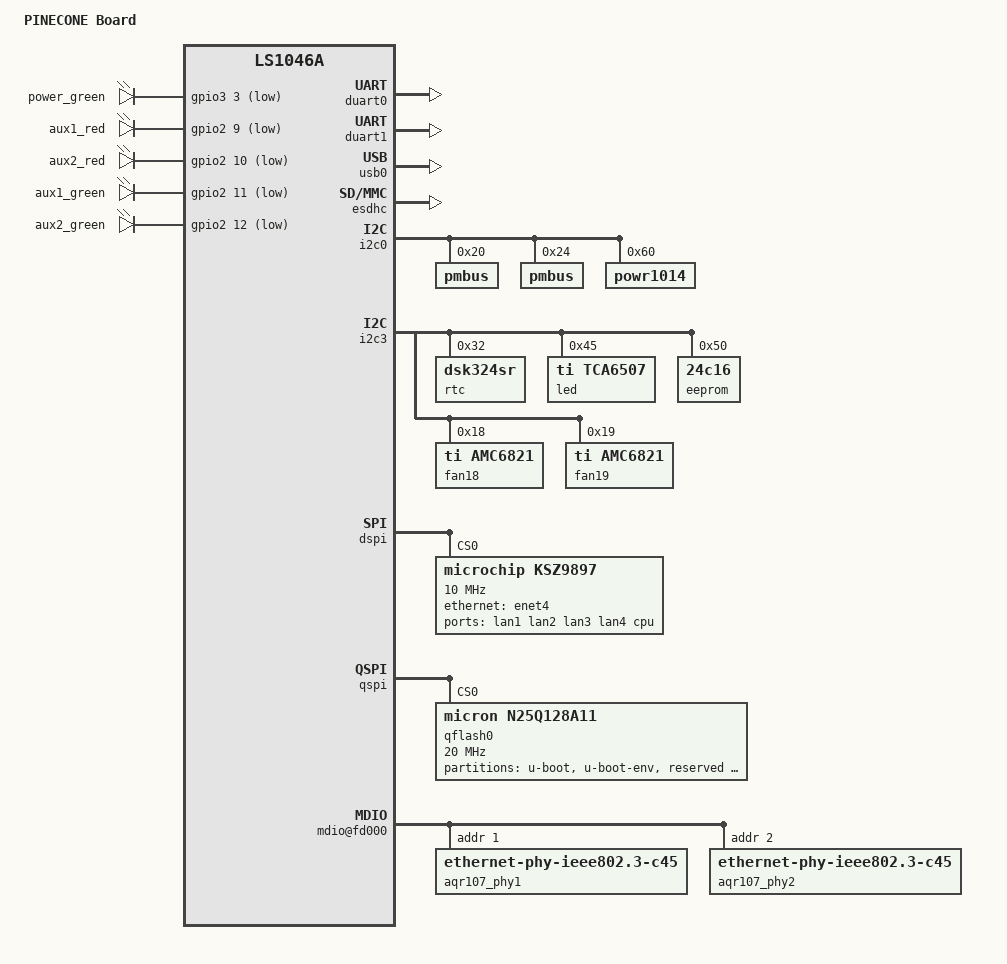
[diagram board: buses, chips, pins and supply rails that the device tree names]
// SPDX-License-Identifier: (GPL-2.0+ OR MIT)
/*
 * Device Tree Include file for Freescale Layerscape-1046A family SoC.
 *
 * Copyright 2016 Freescale Semiconductor, Inc.
 *
 * Mingkai Hu <mingkai.hu@nxp.com>
 */

/dts-v1/;

#include <dt-bindings/gpio/gpio.h>
#include "cs-pinecone.dtsi"

/ {
	model = "PINECONE Board";
	compatible = "pinecone", "fsl,ls1046a";

	aliases {
		serial0 = &duart0;
		serial1 = &duart1;
	};

	chosen {
		stdout-path = "serial0:115200n8";
	};

	leds_system: leds_system {
		compatible = "gpio-leds";
		status = "ok";

		led@1 {
			label = "power_green";
			gpios = <&gpio3 3 GPIO_ACTIVE_LOW>;
			default-state = "on";
		};

		led@2 {
			label = "aux1_red";
			gpios = <&gpio2 9 GPIO_ACTIVE_LOW>;
		};

		led@3 {
			label = "aux2_red";
			gpios = <&gpio2 10 GPIO_ACTIVE_LOW>;
		};

		led@4 {
			label = "aux1_green";
			gpios = <&gpio2 11 GPIO_ACTIVE_LOW>;
		};

		led@5 {
			label = "aux2_green";
			gpios = <&gpio2 12 GPIO_ACTIVE_LOW>;
		};
	};
};

&duart0 {
	status = "okay";
};

&duart1 {
	status = "okay";
};

&usb0 {
	status = "okay";
};

&esdhc {
	broken-cd;
	status = "okay";
};

&i2c0 {
	status = "okay";

	pmbus@20 {
		compatible = "pmbus";
		reg = <0x20>;
	};

	pmbus@24 {
		compatible = "pmbus";
		reg = <0x24>;
	};

	powr1014@60 {
		compatible = "powr1014";
		reg = <0x60>;
	};
};

&i2c3 {
	status = "okay";

	rtc@32 {
		compatible = "dsk324sr";
		reg = <0x32>;
	};

	led@45 {
		compatible = "ti,tca6507";
		#address-cells = <1>;
		#size-cells = <0>;
		reg = <0x45>;

		/* LEDs on Main board */
		led0: power-status-red@0 {
			label = "power_red";
			reg = <0x0>;
		};
		led1: system-status1-red@1 {
			label = "status1_red";
			reg = <0x1>;
		};
		led2: system-status2-red@2 {
			label = "status2_red";
			reg = <0x2>;
		};
		led3: system-status3-red@3 {
			label = "status3_red";
			reg = <0x3>;
		};
		led4: system-status1-green@4 {
			label = "status1_green";
			linux,default-trigger = "timer";
			reg = <0x4>;
		};
		led5: system-status2-green@5 {
			label = "status2_green";
			reg = <0x5>;
		};
		led6: system-status3-green@6 {
			label = "status3_green";
			reg = <0x6>;
		};
	};

	eeprom@50 {
		compatible = "24c16";
		reg = <0x50>;
	};

	fan18: fan@18 {
		compatible = "ti,amc6821";
		reg = <0x18>;
		cooling-min-state = <0>;
		cooling-max-state = <9>;
		#cooling-cells = <2>;
	};

	fan19: fan@19 {
		compatible = "ti,amc6821";
		reg = <0x19>;
		cooling-min-state = <0>;
		cooling-max-state = <9>;
		#cooling-cells = <2>;
	};
};

&dspi {
	bus-num = <0>;
	status = "okay";

	ksz9897: ksz9897@0 {
		compatible = "microchip,ksz9897";
		reg = <0>;

		spi-max-frequency = <10000000>;
		spi-cpha;
		spi-cpol;
		interrupts = <GIC_SPI 133 IRQ_TYPE_LEVEL_HIGH>;

		ports {
			#address-cells = <1>;
			#size-cells = <0>;
			port@0 {
				reg = <0>;
				label = "lan1";
			};
			port@1 {
				reg = <1>;
				label = "lan2";
			};
			port@2 {
				reg = <2>;
				label = "lan3";
			};
			port@3 {
				reg = <3>;
				label = "lan4";
			};
			port@6 {
				reg = <6>;
				label = "cpu";
				ethernet = <&enet4>;
				fixed-link {
					speed = <1000>;
					full-duplex;
				};
			};
		};
	};
};

&qspi {
	num-cs = <1>;
	bus-num = <0>;
	status = "okay";

	qflash0: n25q128a11@0 {
		compatible = "micron,n25q128a11";
		#address-cells = <1>;
		#size-cells = <1>;
		spi-max-frequency = <20000000>;
		m25p,fast-read;
		reg = <0>;
		spi-rx-bus-width = <2>;
		spi-tx-bus-width = <2>;

		/* MTD partition table */
		partition@0 {
			label = "u-boot";
			reg = <0x00000000 0x00200000>;
		};

		partition@1 {
			label = "u-boot-env";
			reg = <0x00200000 0x00080000>;
		};

		partition@2 {
			label = "reserved";
			reg = <0x00280000 0x00080000>;
		};

		partition@3 {
			label = "oops";
			reg = <0x00300000 0x00200000>;
		};
	};
};

#include "cs-pinecone-post.dtsi"

&fman0 {
	enet6: ethernet@f0000 { /* 10GEC1 */
		phy-handle = <&aqr107_phy1>;
		phy-connection-type = "xgmii";
	};

	enet7: ethernet@f2000 { /* 10GEC2 */
		phy-handle = <&aqr107_phy2>;
		phy-connection-type = "xgmii";
	};

	enet4: ethernet@e8000 {
		phy-connection-type = "sgmii";
		fixed-link {
			speed = <1000>;
			full-duplex;
		};
	};

	enet0: ethernet@e0000 {
		status = "disabled";
	};

	enet1: ethernet@e2000 {
		status = "disabled";
	};

	enet2: ethernet@e4000 {
		status = "disabled";
	};

	enet3: ethernet@e6000 {
		status = "disabled";
	};

	enet5: ethernet@ea000 {
		status = "disabled";
	};

	mdio@fd000 {
		aqr107_phy1: ethernet-phy@1 {
			compatible = "ethernet-phy-ieee802.3-c45";
			reg = <0x1>;
			interrupts = <GIC_SPI 147 IRQ_TYPE_LEVEL_HIGH>;
		};

		aqr107_phy2: ethernet-phy@2 {
			compatible = "ethernet-phy-ieee802.3-c45";
			reg = <0x2>;
			interrupts = <GIC_SPI 149 IRQ_TYPE_LEVEL_HIGH>;
		};
	};
};
